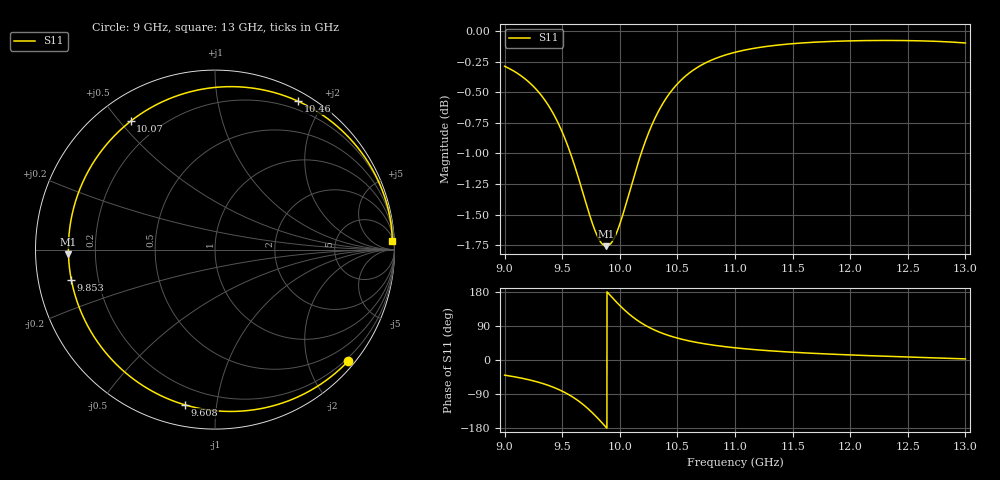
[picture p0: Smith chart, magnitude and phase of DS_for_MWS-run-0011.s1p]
! TOUCHSTONE file generated by CST DESIGN STUDIO
! Date and time: Tue Feb  4 17:36:35 2025
! Project name: C:\Work\MatlabApps\UnitCellOptimizationMatlab\CST\unitcell.cst
! Tree item: Tasks\Sweep1\SPara1\S-Parameters
! Header version: 2024
! Port assignment regex: !\s*Touchstone port\s*([0-9]+)\s*=\s*(CST MWS port|CST DES external port|CST DES block port)\s*(.+)\s* \(\"(.*)\"\)(\s*mode\s*([0-9]+))?.*
! Touchstone port assignment:
! Touchstone port 1 = CST DES external port 1 ("")
# GHz S MA R 50
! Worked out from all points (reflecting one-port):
!   4001 points, 9 GHz to 13 GHz, reference 50 ohm
!   lowest |S11| = -1.8 dB at 9.883 GHz (marker M1), VSWR 9.92, Z = 5.04 - j0.78 ohm
!   phase of S11 starts at -40 deg and turns -317 deg over the sweep
!   S11 on the Smith chart (normalised r, x): 9 GHz: 0.14, -2.74; 9.608 GHz: 0.11, -0.82; 9.853 GHz: 0.10, -0.10; 10.07 GHz: 0.10, +0.54; 10.46 GHz: 0.11, +1.70; 13 GHz: 8, +38
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9  0.9674 -40.0
9.148  0.9583 -48.0
9.281  0.9459 -57.6
9.395  0.93 -68.6
9.5  0.9095 -82.2
9.557  0.8954 -91.4
9.608  0.881 -101.0
9.67  0.862 -114.7
9.729  0.8438 -129.9
9.796  0.8265 -149.7
9.853  0.8181 -168.2
9.883  0.8169 -178.2
9.939  0.8211 163.1
10  0.834 143.8
10.073  0.856 123.3
10.145  0.8791 106.2
10.227  0.9028 90.5
10.342  0.9285 73.8
10.465  0.9474 60.8
10.5  0.9515 57.8
10.601  0.9611 50.4
10.716  0.9689 43.7
11  0.9802 32.2
11.223  0.9848 26.1
11.5  0.9881 20.5
12  0.9907 13.3
12.5  0.991 7.9
13  0.9887 2.9
